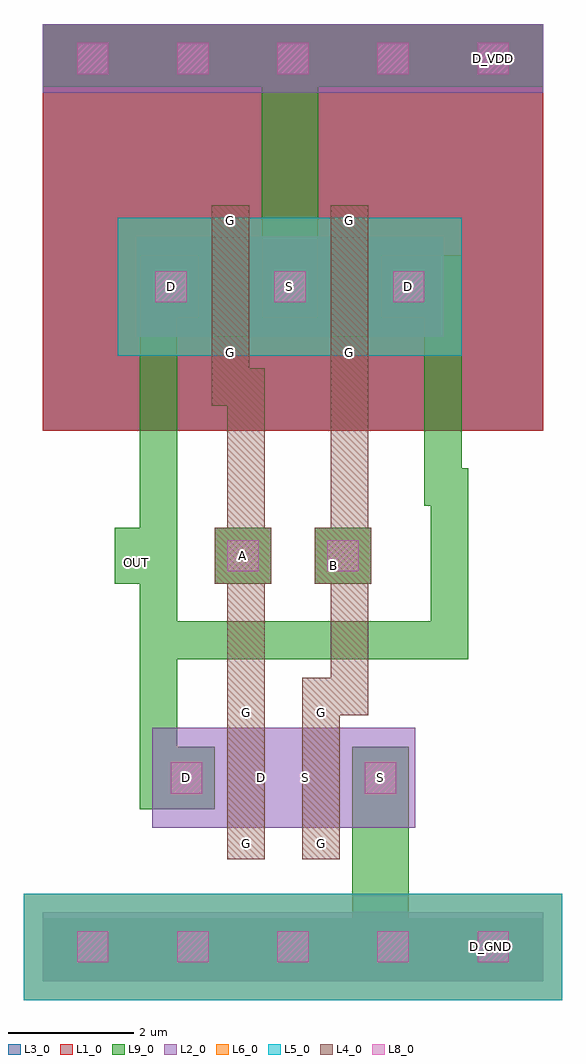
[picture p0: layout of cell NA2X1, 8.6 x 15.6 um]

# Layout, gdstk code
import gdstk
lib = gdstk.Library(unit=1e-6, precision=1e-09)
def R(c, l, rs):  # rectangles x0, y0, x1, y1
    for r in rs: c.add(gdstk.rectangle(r[:2], r[2:], *l))
def A(c, l, x, y, w, h, nx, ny, dx, dy):  # array of equal rectangles
    R(c, l, [(x+i*dx, y+j*dy, x+i*dx+w, y+j*dy+h) for i in range(nx) for j in range(ny)])
def P(c, l, *ps):  # polygons
    for p in ps: c.add(gdstk.Polygon(p, *l))
L1_0 = (1, 0)
L2_0 = (2, 0)
L3_0 = (3, 0)
L4_0 = (4, 0)
L5_0 = (5, 0)
L6_0 = (6, 0)
L8_0 = (8, 0)
L9_0 = (9, 0)

na2x1 = lib.new_cell('NA2X1')
R(na2x1, L1_0, [(0,8.8,6,13.4), (0,8.8,8,15.3), (1.9,8.8,7.9,13.4)])
R(na2x1, L2_0, [(0,0,8,1.1), (1.75,2.45,2.85,4.05), (2.85,2.45,3.65,4.05), (2.95,2.45,4.05,4.05), (3.65,2.45,4.75,4.05), (4.05,2.45,4.85,4.05), (4.85,2.45,5.95,4.05), (1.5,10.3,2.6,11.9), (2.6,10.3,3.4,11.9), (3.4,10.3,4.5,11.9), (3.4,10.3,4.5,11.9), (4.5,10.3,5.3,11.9), (5.3,10.3,6.4,11.9), (0,14.2,8,15.3)])
R(na2x1, L3_0, [(0,8.8,6,13.4), (0,8.8,8,15.3), (1.9,8.8,7.9,13.4)])
R(na2x1, L4_0, [(2.95,1.95,3.55,4.55), (2.95,1.95,3.55,2.45), (4.15,1.95,4.75,4.55), (4.15,1.95,4.75,2.45), (2.95,4.05,3.55,4.55), (4.15,4.05,4.75,4.55), (2.75,6.35,3.65,7.25), (4.35,6.35,5.25,7.25), (2.7,9.8,3.3,12.4), (2.7,9.8,3.3,10.3), (4.6,9.8,5.2,12.4), (4.6,9.8,5.2,10.3), (2.7,11.9,3.3,12.4), (4.6,11.9,5.2,12.4)])
P(na2x1, L4_0, [(2.7,9.2),(2.95,9.2),(2.95,4.55),(3.55,4.55),(3.55,9.8),(2.7,9.8)],
  [(4.15,4.25),(5.2,4.25),(5.2,10.2),(4.6,10.2),(4.6,4.85),(4.15,4.85)])
R(na2x1, L5_0, [(-0.3,-0.3,8.3,1.4), (1.2,10,4.8,12.2), (3.1,10,6.7,12.2)])
R(na2x1, L6_0, [(-0.3,-0.3,8.3,1.4), (1.2,10,4.8,12.2), (3.1,10,6.7,12.2)])
A(na2x1, L8_0, 0.55, 0.3, 0.5, 0.5, 5, 2, 1.6, 14.2)
R(na2x1, L8_0, [(6.95,0.3,7.45,0.8), (2.05,3,2.55,3.5), (5.15,3,5.65,3.5), (2.95,6.55,3.45,7.05), (4.55,6.55,5.05,7.05), (1.8,10.85,2.3,11.35), (3.7,10.85,4.2,11.35), (3.7,10.85,4.2,11.35), (5.6,10.85,6.1,11.35), (6.95,14.5,7.45,15)])
R(na2x1, L9_0, [(0,0,8,1), (4.95,0.1,5.85,3.65), (6.7,0.1,7.6,1), (1.8,2.75,1.85,3.05), (1.85,2.75,2.75,3.75), (4.95,2.75,5.85,3.75), (1.15,6.35,2.05,7.25), (2.75,6.35,3.65,7.25), (2.75,6.35,3.65,7.25), (4.35,6.35,5.25,7.25), (4.35,6.35,5.25,7.25), (1.6,10.6,2.5,11.6), (3.5,10.6,4.4,11.6), (3.5,10.6,4.4,11.6), (5.4,10.6,6.3,11.6), (3.5,10.65,4.4,14.45), (6.3,11,6.7,11.6), (0,14.3,8,15.3), (6.75,14.3,7.65,15.2)])
P(na2x1, L9_0, [(1.8,5.15),(6.8,5.15),(6.8,8.2),(6.7,8.2),(6.7,11.25),(6.1,11.25),(6.1,7.6),(6.2,7.6),(6.2,5.75),(1.8,5.75)],
  [(1.55,2.75),(2.2,2.75),(2.2,3.35),(2.15,3.35),(2.15,11.6),(1.55,11.6)])
na2x1.add(gdstk.Label('G', (3,10.052), layer=4, texttype=0))
na2x1.add(gdstk.Label('G', (3,12.152), layer=4, texttype=0))
na2x1.add(gdstk.Label('S', (3.951,11.101), layer=9, texttype=0))
na2x1.add(gdstk.Label('D', (2.051,11.101), layer=9, texttype=0))
na2x1.add(gdstk.Label('G', (3.25,2.202), layer=4, texttype=0))
na2x1.add(gdstk.Label('G', (3.25,4.302), layer=4, texttype=0))
na2x1.add(gdstk.Label('S', (4.201,3.251), layer=2, texttype=0))
na2x1.add(gdstk.Label('D', (2.301,3.251), layer=9, texttype=0))
na2x1.add(gdstk.Label('D', (3.501,3.251), layer=2, texttype=0))
na2x1.add(gdstk.Label('G', (4.45,2.202), layer=4, texttype=0))
na2x1.add(gdstk.Label('G', (4.45,4.302), layer=4, texttype=0))
na2x1.add(gdstk.Label('S', (5.401,3.251), layer=9, texttype=0))
na2x1.add(gdstk.Label('G', (4.9,10.052), layer=4, texttype=0))
na2x1.add(gdstk.Label('G', (4.9,12.152), layer=4, texttype=0))
na2x1.add(gdstk.Label('S', (3.949,11.101), layer=9, texttype=0))
na2x1.add(gdstk.Label('D', (5.849,11.101), layer=9, texttype=0))
na2x1.add(gdstk.Label('D_GND', (7.15,0.55), layer=50, texttype=0))
na2x1.add(gdstk.Label('OUT', (1.5,6.7), layer=50, texttype=0))
na2x1.add(gdstk.Label('B', (4.65,6.65), layer=50, texttype=0))
na2x1.add(gdstk.Label('D_VDD', (7.2,14.75), layer=50, texttype=0))
na2x1.add(gdstk.Label('A', (3.2,6.8), layer=50, texttype=0))

lib.write_gds('NA2X1.gds')
